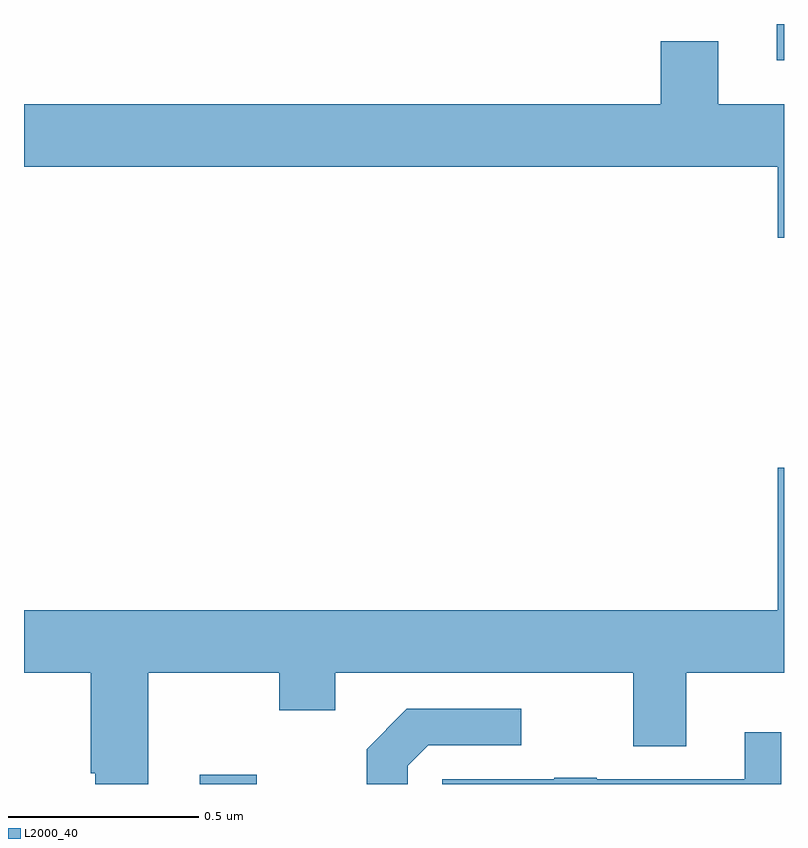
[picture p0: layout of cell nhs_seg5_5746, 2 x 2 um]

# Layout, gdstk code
import gdstk
lib = gdstk.Library(unit=1e-6, precision=1e-09)
def R(c, l, rs):  # rectangles x0, y0, x1, y1
    for r in rs: c.add(gdstk.rectangle(r[:2], r[2:], *l))
def P(c, l, *ps):  # polygons
    for p in ps: c.add(gdstk.Polygon(p, *l))
L2000_40 = (2000, 40)

nhs_seg5_5746 = lib.new_cell('nhs_seg5_5746')
R(nhs_seg5_5746, L2000_40, [(187.463,857.799,187.612,857.824), (188.981,859.704,189,859.799)])
P(nhs_seg5_5746, L2000_40, [(189,859.588),(188.827,859.588),(188.827,859.753),(188.675,859.753),(188.675,859.588),(187,859.588),(187,859.424),(188.984,859.424),(188.984,859.236),(189,859.236)],
  [(187.327,858.092),(187.672,858.092),(187.672,857.993),(187.819,857.993),(187.819,858.092),(188.603,858.092),(188.603,857.898),(188.743,857.898),(188.743,858.092),(189,858.092),(189,858.631),(188.984,858.631),(188.984,858.256),(187,858.256),(187,858.092),(187.175,858.092),(187.175,857.827),(187.187,857.827),(187.187,857.799),(187.327,857.799)],
  [(188.01,857.847),(188.064,857.901),(188.308,857.901),(188.308,857.997),(188.007,857.997),(188.005,857.995),(187.902,857.891),(187.902,857.799),(188.01,857.799)],
  [(188.993,857.935),(188.897,857.935),(188.897,857.811),(188.507,857.811),(188.507,857.816),(188.395,857.816),(188.395,857.811),(188.1,857.811),(188.1,857.799),(188.993,857.799)])

lib.write_gds('nhs_seg5_5746.gds')
